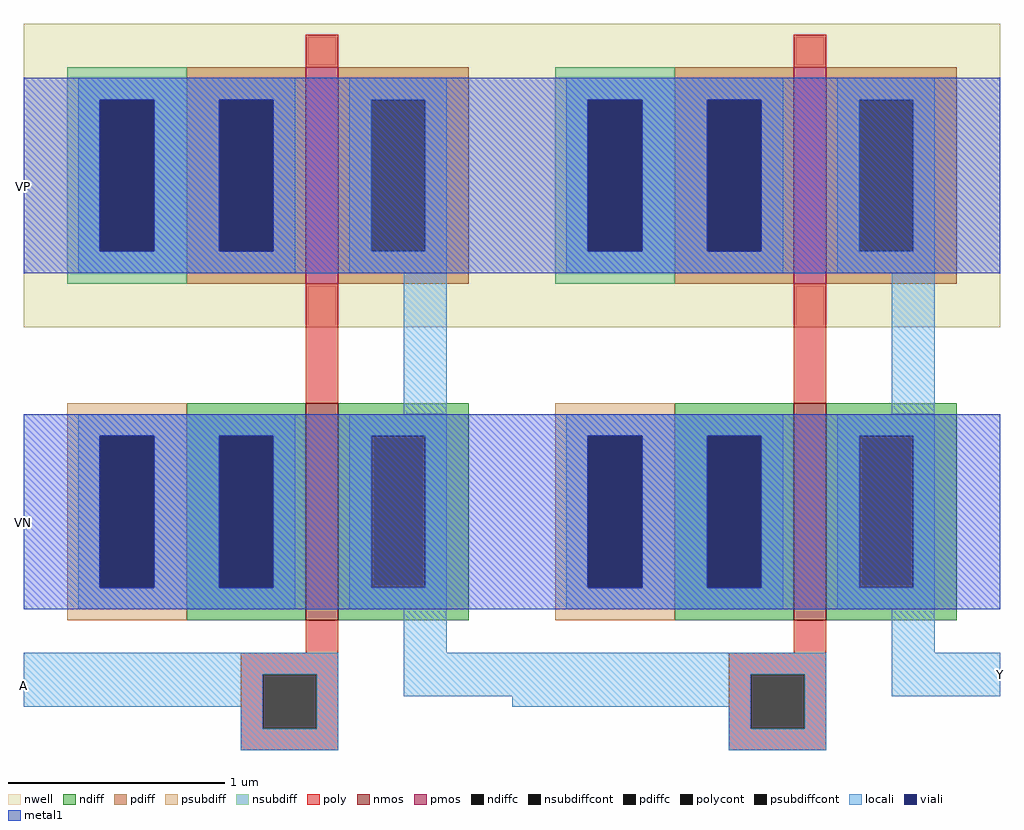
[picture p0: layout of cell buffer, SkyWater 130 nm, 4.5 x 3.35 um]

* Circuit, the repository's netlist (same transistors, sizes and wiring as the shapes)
* SPICE3 file created from buffer.ext - technology: sky130A

.subckt inverter A Y VP VN
X0 Y A VP VP sky130_fd_pr__pfet_01v8 ad=6e+11p pd=3.2e+06u as=5.5e+11p ps=3.1e+06u w=1e+06u l=150000u
X1 Y A VN VN sky130_fd_pr__nfet_01v8 ad=6e+11p pd=3.2e+06u as=5.5e+11p ps=3.1e+06u w=1e+06u l=150000u
.ends


* Top level circuit buffer

Xinverter_0 A inverter_1/A VP VN inverter
Xinverter_1 inverter_1/A Y VP VN inverter
.end

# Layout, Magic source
magic
tech sky130A
<< locali >>
rect -5 15 25 40
rect 420 20 445 40
<< metal1 >>
rect -5 215 20 305
rect -5 60 20 150
use inverter  inverter_1
transform 1 0 350 0 1 55
box -130 -60 95 275
use inverter  inverter_0
transform 1 0 125 0 1 55
box -130 -60 95 275
<< labels >>
rlabel locali -5 25 -5 25 7 A
rlabel locali 445 30 445 30 3 Y
rlabel metal1 -5 255 -5 255 7 VP
rlabel metal1 -5 100 -5 100 7 VN
<< end >>

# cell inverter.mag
magic
tech sky130A
<< nwell >>
rect -130 135 95 275
<< nmos >>
rect 0 0 15 100
<< pmos >>
rect 0 155 15 255
<< ndiff >>
rect -55 85 0 100
rect -55 15 -40 85
rect -15 15 0 85
rect -55 0 0 15
rect 15 85 75 100
rect 15 15 30 85
rect 55 15 75 85
rect 15 0 75 15
<< pdiff >>
rect -55 240 0 255
rect -55 170 -40 240
rect -15 170 0 240
rect -55 155 0 170
rect 15 240 75 255
rect 15 170 30 240
rect 55 170 75 240
rect 15 155 75 170
<< ndiffc >>
rect -40 15 -15 85
rect 30 15 55 85
<< pdiffc >>
rect -40 170 -15 240
rect 30 170 55 240
<< psubdiff >>
rect -110 85 -55 100
rect -110 15 -95 85
rect -70 15 -55 85
rect -110 0 -55 15
<< nsubdiff >>
rect -110 240 -55 255
rect -110 170 -95 240
rect -70 170 -55 240
rect -110 155 -55 170
<< psubdiffcont >>
rect -95 15 -70 85
<< nsubdiffcont >>
rect -95 170 -70 240
<< poly >>
rect 0 255 15 270
rect 0 100 15 155
rect 0 -15 15 0
rect -30 -25 15 -15
rect -30 -50 -20 -25
rect 5 -50 15 -25
rect -30 -60 15 -50
<< polycont >>
rect -20 -50 5 -25
<< locali >>
rect -105 240 -5 250
rect -105 170 -95 240
rect -70 170 -40 240
rect -15 170 -5 240
rect -105 160 -5 170
rect 20 240 65 250
rect 20 170 30 240
rect 55 170 65 240
rect 20 160 65 170
rect 45 95 65 160
rect -105 85 -5 95
rect -105 15 -95 85
rect -70 15 -40 85
rect -15 15 -5 85
rect -105 5 -5 15
rect 20 85 65 95
rect 20 15 30 85
rect 55 15 65 85
rect 20 5 65 15
rect 45 -15 65 5
rect -130 -25 15 -15
rect -130 -40 -20 -25
rect -30 -50 -20 -40
rect 5 -50 15 -25
rect 45 -35 95 -15
rect -30 -60 15 -50
<< viali >>
rect -95 170 -70 240
rect -40 170 -15 240
rect -95 15 -70 85
rect -40 15 -15 85
<< metal1 >>
rect -130 240 95 250
rect -130 170 -95 240
rect -70 170 -40 240
rect -15 170 95 240
rect -130 160 95 170
rect -130 85 95 95
rect -130 15 -95 85
rect -70 15 -40 85
rect -15 15 95 85
rect -130 5 95 15
<< labels >>
rlabel metal1 -130 200 -130 200 7 VP
port 3 w
rlabel metal1 -130 45 -130 45 7 VN
port 4 w
rlabel locali -130 -30 -130 -30 7 A
port 1 w
rlabel locali 95 -25 95 -25 3 Y
port 2 e
<< end >>
